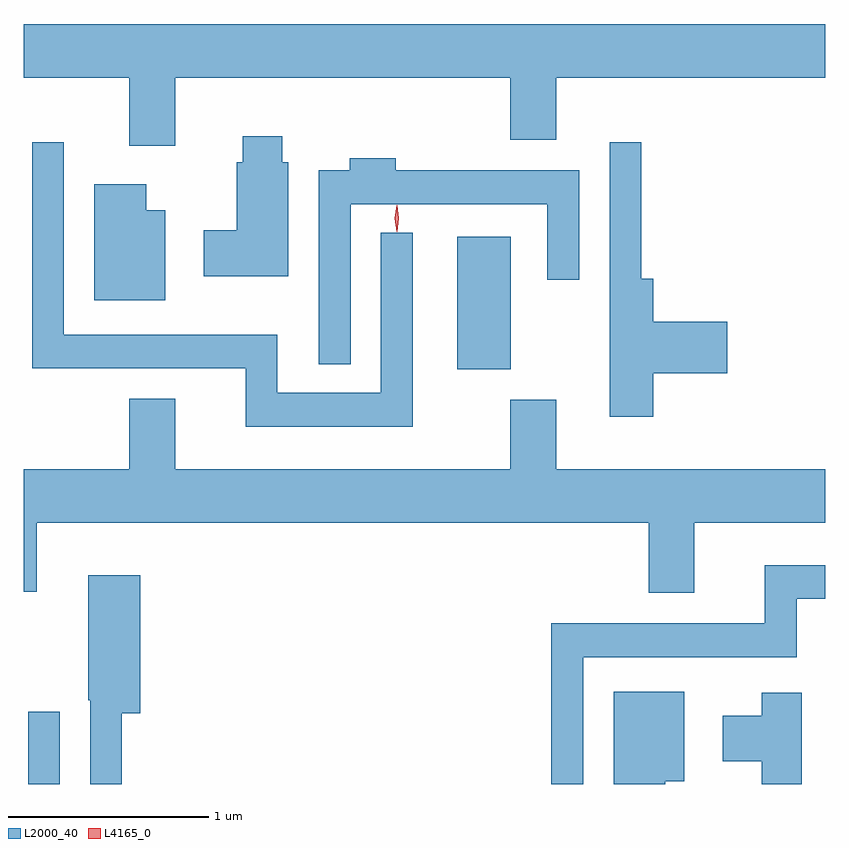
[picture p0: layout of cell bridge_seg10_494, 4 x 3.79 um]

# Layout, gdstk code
import gdstk
lib = gdstk.Library(unit=1e-6, precision=1e-09)
def R(c, l, rs):  # rectangles x0, y0, x1, y1
    for r in rs: c.add(gdstk.rectangle(r[:2], r[2:], *l))
def P(c, l, *ps):  # polygons
    for p in ps: c.add(gdstk.Polygon(p, *l))
L2000_40 = (2000, 40)
L4165_0 = (4165, 0)

bridge_seg10_494 = lib.new_cell('bridge_seg10_494')
R(bridge_seg10_494, L2000_40, [(909.826,2174.773,909.984,2175.133), (911.966,2176.841,912.234,2177.504)])
P(bridge_seg10_494, L2000_40, [(910.559,2178.296),(912.231,2178.296),(912.231,2177.986),(912.459,2177.986),(912.459,2178.296),(913.803,2178.296),(913.803,2178.564),(909.803,2178.564),(909.803,2178.296),(910.331,2178.296),(910.331,2177.956),(910.559,2177.956)],
  [(911.124,2177.874),(911.094,2177.874),(911.094,2178.004),(910.896,2178.004),(910.896,2177.874),(910.866,2177.874),(910.866,2177.534),(910.701,2177.534),(910.701,2177.306),(911.124,2177.306)],
  [(912.944,2176.821),(913.314,2176.821),(913.314,2177.079),(912.944,2177.079),(912.944,2177.294),(912.884,2177.294),(912.884,2177.973),(912.726,2177.973),(912.726,2176.606),(912.944,2176.606)],
  [(911.744,2177.523),(911.586,2177.523),(911.586,2176.724),(911.069,2176.724),(911.069,2177.014),(910.004,2177.014),(910.004,2177.973),(909.846,2177.973),(909.846,2176.846),(910.911,2176.846),(910.911,2176.556),(911.744,2176.556)],
  [(911.434,2177.666),(912.416,2177.666),(912.416,2177.288),(912.574,2177.288),(912.574,2177.834),(911.659,2177.834),(911.659,2177.894),(911.431,2177.894),(911.431,2177.834),(911.276,2177.834),(911.276,2176.868),(911.434,2176.868)],
  [(910.509,2177.634),(910.414,2177.634),(910.414,2177.764),(910.156,2177.764),(910.156,2177.186),(910.509,2177.186)],
  [(913.149,2176.076),(913.803,2176.076),(913.803,2176.344),(912.459,2176.344),(912.459,2176.689),(912.231,2176.689),(912.231,2176.344),(910.559,2176.344),(910.559,2176.694),(910.331,2176.694),(910.331,2176.344),(909.803,2176.344),(909.803,2175.731),(909.869,2175.731),(909.869,2176.076),(912.921,2176.076),(912.921,2175.726),(913.149,2175.726)],
  [(912.594,2175.406),(913.659,2175.406),(913.659,2175.696),(913.803,2175.696),(913.803,2175.864),(913.501,2175.864),(913.501,2175.574),(912.436,2175.574),(912.436,2174.773),(912.594,2174.773)],
  [(910.294,2175.126),(910.384,2175.126),(910.384,2175.814),(910.126,2175.814),(910.126,2175.19),(910.136,2175.19),(910.136,2174.773),(910.294,2174.773)],
  [(913.004,2174.786),(913.099,2174.786),(913.099,2175.234),(912.746,2175.234),(912.746,2174.773),(913.004,2174.773)],
  [(913.684,2175.229),(913.486,2175.229),(913.486,2175.114),(913.291,2175.114),(913.291,2174.886),(913.486,2174.886),(913.486,2174.773),(913.684,2174.773)])
P(bridge_seg10_494, L4165_0, [(911.665,2177.527),(911.664,2177.528),(911.655,2177.594),(911.664,2177.66),(911.665,2177.661),(911.666,2177.66),(911.675,2177.594),(911.666,2177.528)])

lib.write_gds('bridge_seg10_494.gds')
